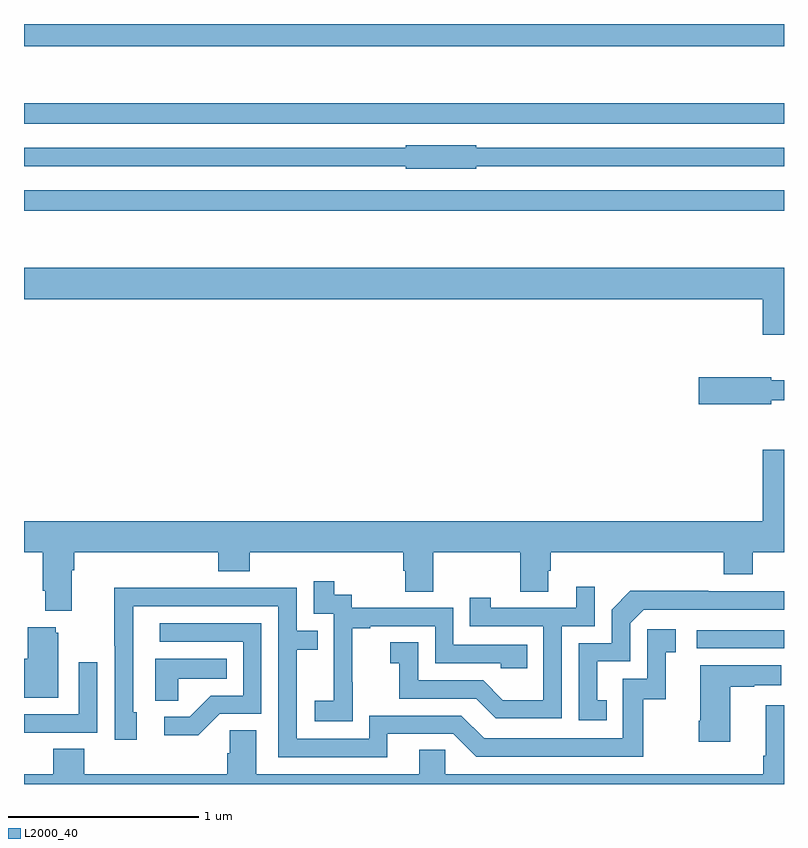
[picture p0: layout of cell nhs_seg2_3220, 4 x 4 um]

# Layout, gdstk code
import gdstk
lib = gdstk.Library(unit=1e-6, precision=1e-09)
def R(c, l, rs):  # rectangles x0, y0, x1, y1
    for r in rs: c.add(gdstk.rectangle(r[:2], r[2:], *l))
def P(c, l, *ps):  # polygons
    for p in ps: c.add(gdstk.Polygon(p, *l))
L2000_40 = (2000, 40)

nhs_seg2_3220 = lib.new_cell('nhs_seg2_3220')
R(nhs_seg2_3220, L2000_40, [(284.541,596.514,285,596.61), (281,598.818,285,598.926), (281,599.274,285,599.383), (281,599.684,285,599.8)])
P(nhs_seg2_3220, L2000_40, [(283.38,599.052),(285,599.052),(285,599.148),(283.38,599.148),(283.38,599.161),(283.008,599.161),(283.008,599.148),(281,599.148),(281,599.052),(283.008,599.052),(283.008,599.039),(283.38,599.039)],
  [(285,598.516),(281,598.516),(281,598.352),(284.888,598.352),(284.888,598.164),(285,598.164)],
  [(284.934,597.82),(285,597.82),(285,597.924),(284.934,597.924),(284.934,597.942),(284.55,597.942),(284.55,597.8),(284.934,597.8)],
  [(281.251,596.924),(281.264,596.924),(281.264,597.02),(282.023,597.02),(282.023,596.921),(282.188,596.921),(282.188,597.02),(282.995,597.02),(282.995,596.922),(283.007,596.922),(283.007,596.812),(283.155,596.812),(283.155,597.02),(283.612,597.02),(283.612,596.812),(283.759,596.812),(283.759,596.922),(283.772,596.922),(283.772,597.02),(284.684,597.02),(284.684,596.903),(284.836,596.903),(284.836,597.02),(285,597.02),(285,597.559),(284.888,597.559),(284.888,597.184),(281,597.184),(281,597.02),(281.099,597.02),(281.099,596.818),(281.111,596.818),(281.111,596.711),(281.251,596.711)],
  [(282.729,596.335),(282.728,596.335),(282.728,596.619),(282.823,596.619),(282.823,596.631),(283.164,596.631),(283.164,596.436),(283.509,596.436),(283.509,596.409),(283.649,596.409),(283.649,596.532),(283.26,596.532),(283.26,596.727),(282.726,596.727),(282.726,596.796),(282.634,596.796),(282.634,596.866),(282.525,596.866),(282.525,596.697),(282.63,596.697),(282.63,596.468),(282.629,596.468),(282.629,596.239),(282.531,596.239),(282.531,596.129),(282.729,596.129)],
  [(283.83,596.631),(284.004,596.631),(284.004,596.839),(283.907,596.839),(283.907,596.727),(283.456,596.727),(283.456,596.779),(283.345,596.779),(283.345,596.631),(283.734,596.631),(283.734,596.242),(283.52,596.242),(283.416,596.346),(283.074,596.346),(283.074,596.545),(282.927,596.545),(282.927,596.435),(282.976,596.435),(282.976,596.25),(283.379,596.25),(283.484,596.145),(283.83,596.145)],
  [(282.913,596.064),(283.26,596.064),(283.38,595.944),(284.26,595.944),(284.26,596.247),(284.378,596.247),(284.378,596.493),(284.431,596.493),(284.431,596.614),(284.28,596.614),(284.28,596.355),(284.151,596.355),(284.151,596.04),(283.422,596.04),(283.302,596.16),(282.816,596.16),(282.816,596.037),(282.435,596.037),(282.435,596.506),(282.545,596.506),(282.545,596.607),(282.435,596.607),(282.435,596.832),(281.939,596.832),(281.939,596.834),(281.476,596.834),(281.476,596.527),(281.478,596.527),(281.478,596.034),(281.593,596.034),(281.593,596.178),(281.574,596.178),(281.574,596.736),(282.339,596.736),(282.339,595.941),(282.913,595.941)],
  [(284.066,596.241),(284.017,596.241),(284.017,596.445),(284.19,596.445),(284.19,596.646),(284.262,596.718),(285,596.718),(285,596.814),(284.6,596.814),(284.6,596.816),(284.192,596.816),(284.094,596.718),(284.094,596.541),(283.92,596.541),(283.92,596.136),(284.066,596.136)],
  [(282.03,596.169),(282.249,596.169),(282.249,596.646),(281.715,596.646),(281.715,596.55),(282.153,596.55),(282.153,596.265),(281.984,596.265),(281.873,596.154),(281.739,596.154),(281.739,596.057),(281.917,596.057)],
  [(281.179,596.595),(281.168,596.595),(281.168,596.626),(281.021,596.626),(281.021,596.458),(281,596.458),(281,596.255),(281.179,596.255)],
  [(281.811,596.354),(282.068,596.354),(282.068,596.458),(281.69,596.458),(281.69,596.239),(281.811,596.239)],
  [(281.069,596.07),(281.385,596.07),(281.385,596.44),(281.289,596.44),(281.289,596.166),(281,596.166),(281,596.069),(281.069,596.069)],
  [(284.716,596.311),(284.843,596.311),(284.843,596.321),(284.986,596.321),(284.986,596.425),(284.558,596.425),(284.558,596.134),(284.551,596.134),(284.551,596.022),(284.716,596.022)],
  [(285,596.215),(284.903,596.215),(284.903,595.948),(284.891,595.948),(284.891,595.852),(283.218,595.852),(283.218,595.979),(283.079,595.979),(283.079,595.852),(282.223,595.852),(282.223,596.084),(282.084,596.084),(282.084,595.961),(282.071,595.961),(282.071,595.852),(281.318,595.852),(281.318,595.985),(281.153,595.985),(281.153,595.852),(281,595.852),(281,595.8),(285,595.8)])

lib.write_gds('nhs_seg2_3220.gds')
